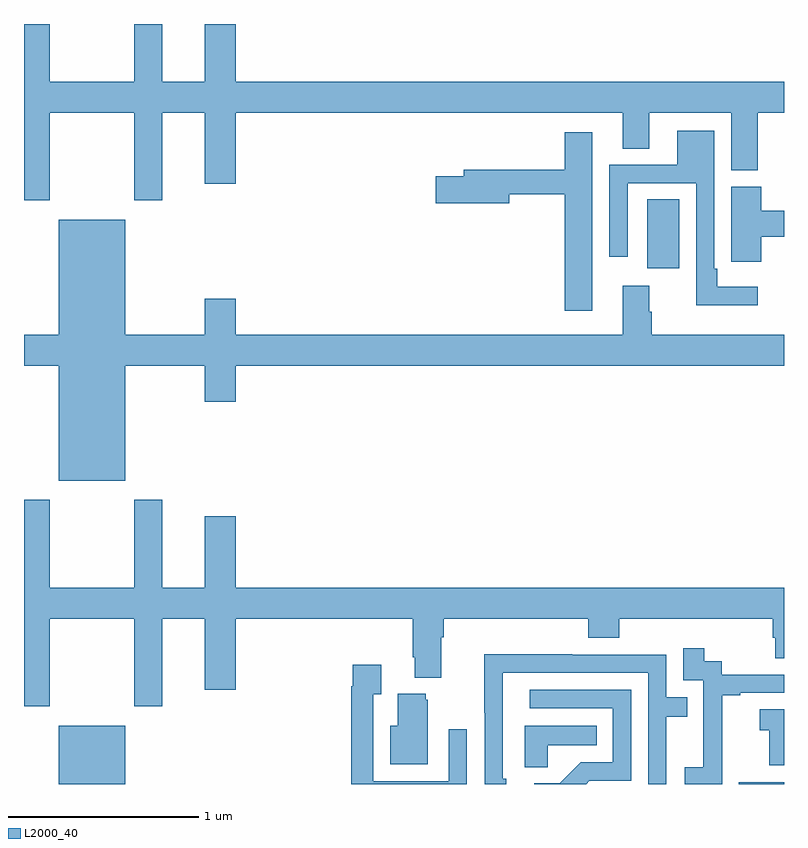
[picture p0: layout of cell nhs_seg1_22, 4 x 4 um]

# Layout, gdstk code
import gdstk
lib = gdstk.Library(unit=1e-6, precision=1e-09)
def R(c, l, rs):  # rectangles x0, y0, x1, y1
    for r in rs: c.add(gdstk.rectangle(r[:2], r[2:], *l))
def P(c, l, *ps):  # polygons
    for p in ps: c.add(gdstk.Polygon(p, *l))
L2000_40 = (2000, 40)

nhs_seg1_22 = lib.new_cell('nhs_seg1_22')
R(nhs_seg1_22, L2000_40, [(111.182,548.199,111.532,548.506), (114.762,548.199,115,548.208), (114.281,550.914,114.448,551.276)])
P(nhs_seg1_22, L2000_40, [(111.135,551.732),(111.58,551.732),(111.58,551.271),(111.727,551.271),(111.727,551.732),(111.95,551.732),(111.95,551.358),(112.114,551.358),(112.114,551.732),(114.152,551.732),(114.152,551.542),(114.292,551.542),(114.292,551.732),(114.722,551.732),(114.722,551.428),(114.861,551.428),(114.861,551.732),(115,551.732),(115,551.896),(112.114,551.896),(112.114,552.199),(111.95,552.199),(111.95,551.896),(111.727,551.896),(111.727,552.199),(111.58,552.199),(111.58,551.896),(111.135,551.896),(111.135,552.199),(111,552.199),(111,551.271),(111.135,551.271)],
  [(114.862,550.816),(114.649,550.816),(114.649,550.912),(114.633,550.912),(114.633,551.638),(114.437,551.638),(114.437,551.457),(114.081,551.457),(114.081,550.974),(114.177,550.974),(114.177,551.361),(114.537,551.361),(114.537,550.718),(114.862,550.718)],
  [(113.992,551.629),(113.846,551.629),(113.846,551.431),(113.315,551.431),(113.315,551.397),(113.166,551.397),(113.166,551.255),(113.554,551.255),(113.554,551.302),(113.846,551.302),(113.846,550.689),(113.992,550.689)],
  [(114.879,551.08),(115,551.08),(115,551.216),(114.879,551.216),(114.879,551.343),(114.722,551.343),(114.722,551.059),(114.723,551.059),(114.723,550.947),(114.879,550.947)],
  [(111.532,550.4),(111.95,550.4),(111.95,550.212),(112.114,550.212),(112.114,550.4),(115,550.4),(115,550.564),(114.305,550.564),(114.305,550.685),(114.292,550.685),(114.292,550.822),(114.152,550.822),(114.152,550.564),(112.114,550.564),(112.114,550.753),(111.95,550.753),(111.95,550.564),(111.532,550.564),(111.532,551.17),(111.182,551.17),(111.182,550.564),(111,550.564),(111,550.4),(111.182,550.4),(111.182,549.794),(111.532,549.794)],
  [(111.135,549.068),(111.58,549.068),(111.58,548.607),(111.727,548.607),(111.727,549.068),(111.95,549.068),(111.95,548.694),(112.114,548.694),(112.114,549.068),(113.045,549.068),(113.045,548.866),(113.057,548.866),(113.057,548.759),(113.197,548.759),(113.197,548.972),(113.21,548.972),(113.21,549.068),(113.969,549.068),(113.969,548.969),(114.134,548.969),(114.134,549.068),(114.941,549.068),(114.941,548.97),(114.953,548.97),(114.953,548.86),(115,548.86),(115,549.232),(112.114,549.232),(112.114,549.607),(111.95,549.607),(111.95,549.232),(111.727,549.232),(111.727,549.694),(111.58,549.694),(111.58,549.232),(111.135,549.232),(111.135,549.694),(111,549.694),(111,548.607),(111.135,548.607)],
  [(114.675,548.383),(114.674,548.383),(114.674,548.667),(114.769,548.667),(114.769,548.679),(115,548.679),(115,548.775),(114.672,548.775),(114.672,548.844),(114.58,548.844),(114.58,548.914),(114.471,548.914),(114.471,548.745),(114.576,548.745),(114.576,548.516),(114.575,548.516),(114.575,548.287),(114.477,548.287),(114.477,548.199),(114.675,548.199)],
  [(113.539,548.226),(113.52,548.226),(113.52,548.784),(114.285,548.784),(114.285,548.199),(114.381,548.199),(114.381,548.554),(114.491,548.554),(114.491,548.655),(114.381,548.655),(114.381,548.88),(113.885,548.88),(113.885,548.882),(113.422,548.882),(113.422,548.575),(113.424,548.575),(113.424,548.199),(113.539,548.199)],
  [(113.331,548.488),(113.235,548.488),(113.235,548.214),(112.839,548.214),(112.839,548.671),(112.879,548.671),(112.879,548.827),(112.731,548.827),(112.731,548.714),(112.723,548.714),(112.723,548.199),(113.331,548.199)],
  [(113.976,548.217),(114.195,548.217),(114.195,548.694),(113.661,548.694),(113.661,548.598),(114.099,548.598),(114.099,548.313),(113.93,548.313),(113.819,548.202),(113.685,548.202),(113.685,548.199),(113.958,548.199)],
  [(113.125,548.643),(113.114,548.643),(113.114,548.674),(112.967,548.674),(112.967,548.506),(112.928,548.506),(112.928,548.303),(113.125,548.303)],
  [(115,548.593),(114.873,548.593),(114.873,548.483),(114.922,548.483),(114.922,548.298),(115,548.298)],
  [(113.757,548.402),(114.014,548.402),(114.014,548.506),(113.636,548.506),(113.636,548.287),(113.757,548.287)])

lib.write_gds('nhs_seg1_22.gds')
